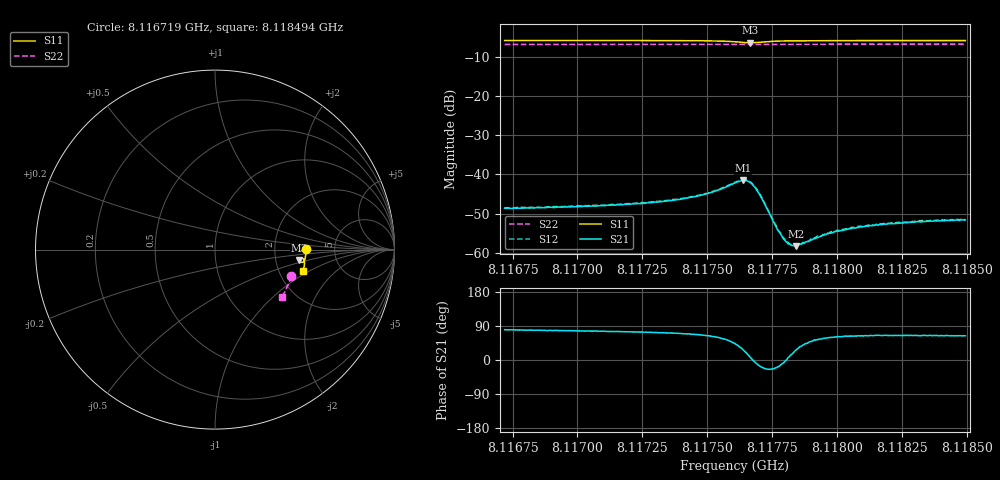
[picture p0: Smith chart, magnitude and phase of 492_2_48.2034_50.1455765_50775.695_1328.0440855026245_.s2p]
#  HZ  S  RI  R  50.00
! Rohde & Schwarz Vector Network Analyzer
! Rohde-Schwarz,ZNB20-2Port,1311601062101988,3.16
! Created: UTC 3/20/2024, 11:58:06 AM
! freq[Hz]  re:S11  im:S11  re:S21  im:S21  re:S12  im:S12  re:S22  im:S22
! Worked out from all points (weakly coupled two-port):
!   401 points, 8.116719 GHz to 8.118494 GHz, reference 50 ohm
!   highest |S21| = -41.57 dB at 8.117638 GHz (marker M1); lowest = -58.3 dB at 8.117842 GHz (marker M2)
!   lowest |S11| = -6.5 dB at 8.117664 GHz (marker M3), VSWR 2.80, Z = 136 - j20.4 ohm
!   |S11| at or under -10 dB: nowhere
!   |S22| runs from -6.9 to -6.8 dB; largest |S21 - S12| = 0.00022
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8.1167192e9  0.5069 0.0055  0.000644 0.00365  0.000694 0.00369  0.425 -0.1498
8.1170165e9  0.5061 -0.0176  0.000891 0.00376  0.000968 0.00386  0.4185 -0.1694
8.1173139e9  0.5035 -0.042  0.00135 0.00423  0.00144 0.00432  0.4109 -0.1887
8.1174026e9  0.502 -0.0503  0.00169 0.00455  0.00175 0.00461  0.4086 -0.1944
8.1174958e9  0.4985 -0.06  0.0024 0.00509  0.0025 0.00513  0.4055 -0.2008
8.1175491e9  0.4939 -0.0665  0.00334 0.00545  0.00349 0.00551  0.4038 -0.2041
8.1176068e9  0.4829 -0.0717  0.00567 0.00531  0.00582 0.00537  0.4018 -0.2076
8.1176378e9  0.4734 -0.0682  0.00743 0.00379  0.00762 0.00386  0.4006 -0.2091
8.1176644e9  0.4694 -0.058  0.00783 0.0011  0.008 0.00112  0.3997 -0.2104
8.1176822e9  0.4725 -0.051  0.00689 -0.00056  0.00703 -0.000606  0.3993 -0.2112
8.1176999e9  0.4784 -0.0472  0.00545 -0.00148  0.00555 -0.00151  0.3992 -0.2121
8.1177621e9  0.4935 -0.0524  0.0021 -0.0008  0.00216 -0.00085  0.3981 -0.2161
8.1177976e9  0.4968 -0.0577  0.00145 -0.000118  0.00151 -0.000138  0.3968 -0.2187
8.1178153e9  0.4976 -0.0601  0.00127 0.000184  0.0013 0.000196  0.3965 -0.2199
8.117842e9  0.4984 -0.0637  0.00109 0.000541  0.00116 0.000565  0.3958 -0.2217
8.1178819e9  0.4989 -0.0686  0.00101 0.000949  0.00101 0.000968  0.3945 -0.2241
8.1179041e9  0.4989 -0.0708  0.000942 0.00113  0.000962 0.00114  0.3937 -0.2256
8.1179973e9  0.4984 -0.0799  0.000918 0.00164  0.000905 0.00169  0.3907 -0.2314
8.1180816e9  0.4975 -0.0871  0.000918 0.00188  0.000977 0.00196  0.3879 -0.2366
8.1182014e9  0.4958 -0.097  0.00101 0.00211  0.00107 0.00214  0.3837 -0.244
8.1183257e9  0.4938 -0.1067  0.00106 0.00225  0.00113 0.00231  0.3792 -0.2514
8.1184943e9  0.4909 -0.1194  0.00116 0.00236  0.00119 0.0024  0.373 -0.2616
